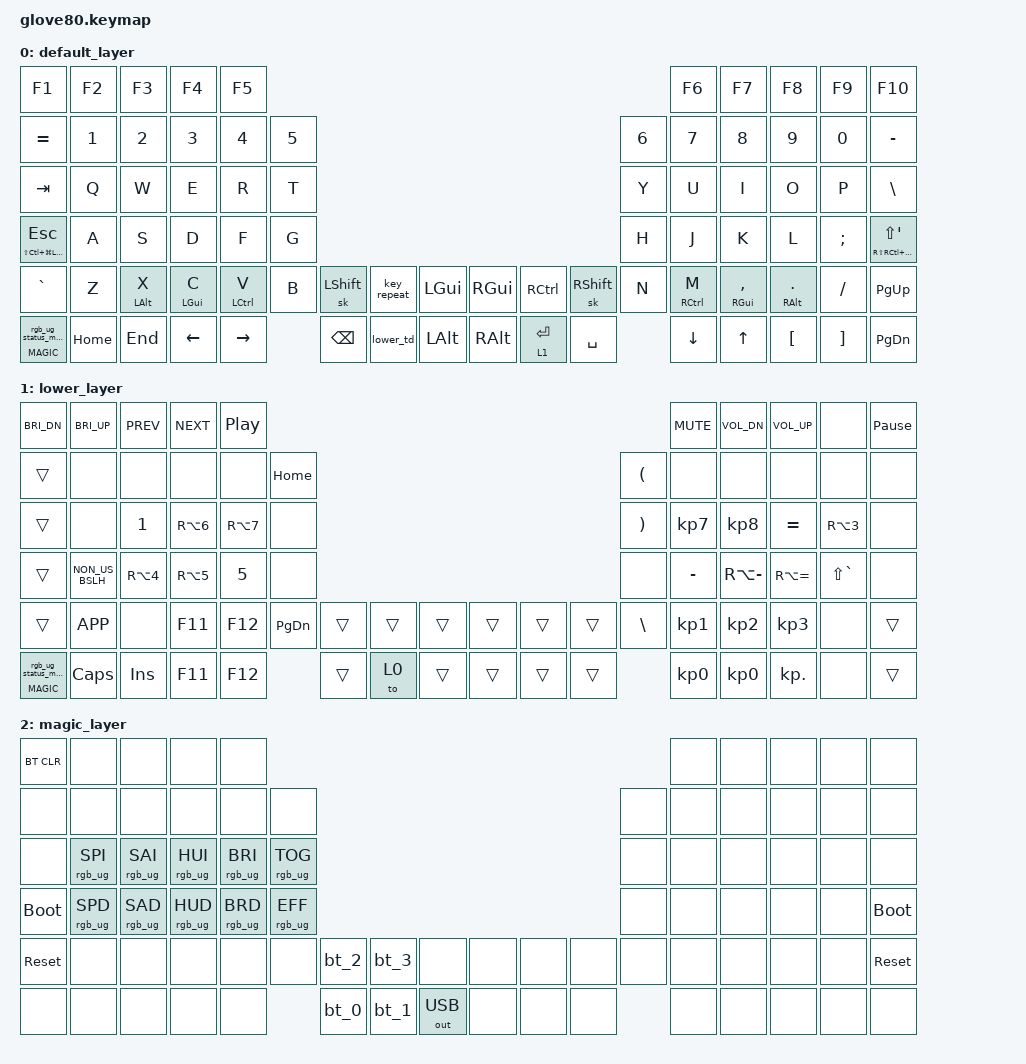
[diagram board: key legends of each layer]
/*
 * Copyright (c) 2020 The ZMK Contributors
 *
 * SPDX-License-Identifier: MIT
 */

#include <behaviors.dtsi>
#include <dt-bindings/zmk/keys.h>
#include <dt-bindings/zmk/bt.h>
#include <dt-bindings/zmk/ext_power.h>
#include <dt-bindings/zmk/outputs.h>
#include <dt-bindings/zmk/rgb.h>

// layers
#define DEFAULT 0
#define LOWER 1
#define MAGIC 2

// key positions
#define POS_LH_T1 52
#define POS_LH_T2 53
#define POS_LH_T3 54
#define POS_LH_T4 69
#define POS_LH_T5 70
#define POS_LH_T6 71
#define POS_LH_C1R2 15 // 5
#define POS_LH_C1R3 27 // T
#define POS_LH_C1R4 39 // G
#define POS_LH_C1R5 51 // B
#define POS_LH_C2R1 4  // F5
#define POS_LH_C2R2 14 // 4
#define POS_LH_C2R3 26 // R
#define POS_LH_C2R4 38 // F
#define POS_LH_C2R5 50 // V
#define POS_LH_C2R6 68 // ->
#define POS_LH_C3R1 3
#define POS_LH_C3R2 13
#define POS_LH_C3R3 25
#define POS_LH_C3R4 37
#define POS_LH_C3R5 49
#define POS_LH_C3R6 67
#define POS_LH_C4R1 2
#define POS_LH_C4R2 12
#define POS_LH_C4R3 24
#define POS_LH_C4R4 36
#define POS_LH_C4R5 48
#define POS_LH_C4R6 66
#define POS_LH_C5R1 1
#define POS_LH_C5R2 11
#define POS_LH_C5R3 23
#define POS_LH_C5R4 35
#define POS_LH_C5R5 47
#define POS_LH_C5R6 65
#define POS_LH_C6R1 0
#define POS_LH_C6R2 10
#define POS_LH_C6R3 22
#define POS_LH_C6R4 34
#define POS_LH_C6R5 46
#define POS_LH_C6R6 64
#define POS_RH_T1 57
#define POS_RH_T2 56
#define POS_RH_T3 55
#define POS_RH_T4 74
#define POS_RH_T5 73
#define POS_RH_T6 72
#define POS_RH_C1R2 16
#define POS_RH_C1R3 28
#define POS_RH_C1R4 40
#define POS_RH_C1R5 58
#define POS_RH_C2R1 5
#define POS_RH_C2R2 17
#define POS_RH_C2R3 29
#define POS_RH_C2R4 41
#define POS_RH_C2R5 59
#define POS_RH_C2R6 75
#define POS_RH_C3R1 6
#define POS_RH_C3R2 18
#define POS_RH_C3R3 30
#define POS_RH_C3R4 42
#define POS_RH_C3R5 60
#define POS_RH_C3R6 76
#define POS_RH_C4R1 7
#define POS_RH_C4R2 19
#define POS_RH_C4R3 31
#define POS_RH_C4R4 43
#define POS_RH_C4R5 61
#define POS_RH_C4R6 77
#define POS_RH_C5R1 8
#define POS_RH_C5R2 20
#define POS_RH_C5R3 32
#define POS_RH_C5R4 44
#define POS_RH_C5R5 62
#define POS_RH_C5R6 78
#define POS_RH_C6R1 9
#define POS_RH_C6R2 21
#define POS_RH_C6R3 33
#define POS_RH_C6R4 45
#define POS_RH_C6R5 63
#define POS_RH_C6R6 79

/ {
    behaviors {
        magic: magic {
            compatible = "zmk,behavior-hold-tap";
            #binding-cells = <2>;
            flavor = "tap-preferred";
            tapping-term-ms = <200>;
            bindings = <&mo>, <&rgb_ug_status_macro>;
        };

        // For the "layer" key, it'd nice to be able to use it as either a shift or a toggle.
        // Configure it as a tap dance, so the first tap (or hold) is a &mo and the second tap is a &to
        lower_td: tap_dance_0 {
            compatible = "zmk,behavior-tap-dance";
            #binding-cells = <0>;
            tapping-term-ms = <200>;
            bindings = <&mo LOWER>, <&to LOWER>;
        };

        mo_repeat: mo_repeat {
            compatible = "zmk,behavior-hold-tap";
            #binding-cells = <2>;
            flavor = "tap-preferred";
            tapping-term-ms = <200>;
            bindings = <&mo>, <&key_repeat>;
        };
    };

    macros {
        rgb_ug_status_macro: rgb_ug_status_macro {
            label = "RGB_UG_STATUS";
            compatible = "zmk,behavior-macro";
            #binding-cells = <0>;
            bindings
            = <&kp ESC>; // Original is "<&rgb_ug RGB_STATUS>;", this is just for debugging
        };

        bt_0: bt_profile_macro_0 {
            compatible = "zmk,behavior-macro";
            #binding-cells = <0>;
            bindings
            = <&out OUT_BLE>,
                <&bt BT_SEL 0>;
        };

        bt_1: bt_profile_macro_1 {
            compatible = "zmk,behavior-macro";
            #binding-cells = <0>;
            bindings
            = <&out OUT_BLE>,
                <&bt BT_SEL 1>;
        };

        bt_2: bt_profile_macro_2 {
            compatible = "zmk,behavior-macro";
            #binding-cells = <0>;
            bindings
            = <&out OUT_BLE>,
                <&bt BT_SEL 2>;
        };

        bt_3: bt_profile_macro_3 {
            compatible = "zmk,behavior-macro";
            #binding-cells = <0>;
            bindings
            = <&out OUT_BLE>,
                <&bt BT_SEL 3>;
        };

        // MACRO CHORDS START
        // MACRO CHORDS END
    };

    combos {
        compatible = "zmk,combos";

        // COMBO CHORDS START
        // COMBO CHORDS END
    };

    keymap {
        compatible = "zmk,keymap";

        default_layer {
            // ---------------------------------------------------------------------------------------------------------------------------------
            // |  F1   |  F2 |  F3 |  F4  |  F5  |                                                               |  F6   |  F7   |  F8  |   F9  |  F10 |
            // |  =    |  1  |  2  |  3   |  4   |  5   |                                                 |  6   |   7   |   8   |  9   |   0   |   -  |
            // |  TAB  |  Q  |  W  |  E   |  R   |  T   |                                                 |  Y   |   U   |   I   |  O   |   P   |   \  |
            // |  ESC  |  A  |  S  |  D   |  F   |  G   |                                                 |  H   |   J   |   K   |  L   |   ;   |   '  |
            // |   `   |  Z  |  X  |  C   |  V   |  B   | LSHFT | LCTRL | LOWER | | LGUI  | RCTRL | RSHFT |  N   |   M   |   ,   |  .   |   /   | PGUP |
            // | MAGIC | HOME| END | LEFT | RIGHT|      | BSPC  | DEL   | LALT  | | RALT  | RET   | SPACE |      |  UP   | DOWN  |  [   |   ]   | PGDN |

            bindings = <
                   &kp F1    &kp F2      &kp F3      &kp F4       &kp F5                                                                                            &kp F6          &kp F7        &kp F8    &kp F9                       &kp F10
                &kp EQUAL    &kp N1      &kp N2      &kp N3       &kp N4  &kp N5                                                                       &kp N6       &kp N7          &kp N8        &kp N9    &kp N0                     &kp MINUS
                  &kp TAB     &kp Q       &kp W       &kp E        &kp R   &kp T                                                                        &kp Y        &kp U           &kp I         &kp O     &kp P                      &kp BSLH
 &mt LS(LC(LG(LALT))) ESC     &kp A       &kp S       &kp D        &kp F   &kp G                                                                        &kp H        &kp J           &kp K         &kp L  &kp SEMI  &mt RS(RC(RG(LALT))) LS(SQT)
                &kp GRAVE     &kp Z  &mt LALT X  &mt LGUI C  &mt LCTRL V   &kp B  &sk LSHFT       &key_repeat  &kp LGUI  &kp RGUI  &kp RCTRL  &sk RSHFT   &kp N  &mt RCTRL M  &mt RGUI COMMA  &mt RALT DOT  &kp FSLH                     &kp PG_UP
     &magic MAGIC 0  &kp HOME     &kp END    &kp LEFT    &kp RIGHT           &kp BSPC  &lower_td  &kp LALT  &kp RALT  &lt 1 RET  &kp SPACE             &kp DOWN          &kp UP      &kp LBKT  &kp RBKT                     &kp PG_DN
            >;
        };

        lower_layer {
            bindings = <
         &kp C_BRI_DN     &kp C_BRI_UP  &kp C_PREV  &kp C_NEXT    &kp C_PP                                                                                    &kp C_MUTE   &kp C_VOL_DN   &kp C_VOL_UP          &none  &kp PAUSE_BREAK
               &trans            &none       &none       &none       &none   &kp HOME                                                   &kp LEFT_PARENTHESIS       &none          &none          &none          &none            &none
               &trans            &none      &kp N1  &kp RA(N6)  &kp RA(N7)      &none                                                  &kp RIGHT_PARENTHESIS   &kp KP_N7      &kp KP_N8      &kp EQUAL     &kp RA(N3)            &none
               &trans  &kp NON_US_BSLH  &kp RA(N4)  &kp RA(N5)      &kp N5      &none                                                                  &none   &kp MINUS  &kp RA(MINUS)  &kp RA(EQUAL)  &kp LS(GRAVE)            &none
               &trans        &kp K_APP       &none     &kp F11     &kp F12  &kp PG_DN  &trans  &trans  &trans  &trans  &trans  &trans               &kp BSLH   &kp KP_N1      &kp KP_N2      &kp KP_N3          &none           &trans
 &magic MAGIC 0         &kp CAPS     &kp INS     &kp F11     &kp F12             &trans   &to 0  &trans  &trans  &trans  &trans                          &kp KP_N0      &kp KP_N0     &kp KP_DOT          &none           &trans
            >;
        };

        magic_layer {
            bindings = <
            &bt BT_CLR        &none               &none           &none           &none                                                                                                           &none      &none      &none      &none      &none
            &none             &none               &none           &none           &none           &none                                                                                &none      &none      &none      &none      &none      &none
            &none             &rgb_ug RGB_SPI     &rgb_ug RGB_SAI &rgb_ug RGB_HUI &rgb_ug RGB_BRI &rgb_ug RGB_TOG                                                                      &none      &none      &none      &none      &none      &none
            &bootloader       &rgb_ug RGB_SPD     &rgb_ug RGB_SAD &rgb_ug RGB_HUD &rgb_ug RGB_BRD &rgb_ug RGB_EFF                                                                      &none      &none      &none      &none      &none      &bootloader
            &sys_reset        &none               &none           &none           &none           &none           &bt_2     &bt_3     &none            &none     &none     &none       &none      &none      &none      &none      &none      &sys_reset
            &none             &none               &none           &none           &none                           &bt_0     &bt_1     &out OUT_USB     &none     &none     &none                  &none      &none      &none      &none      &none
            >;
        };
    };
};
